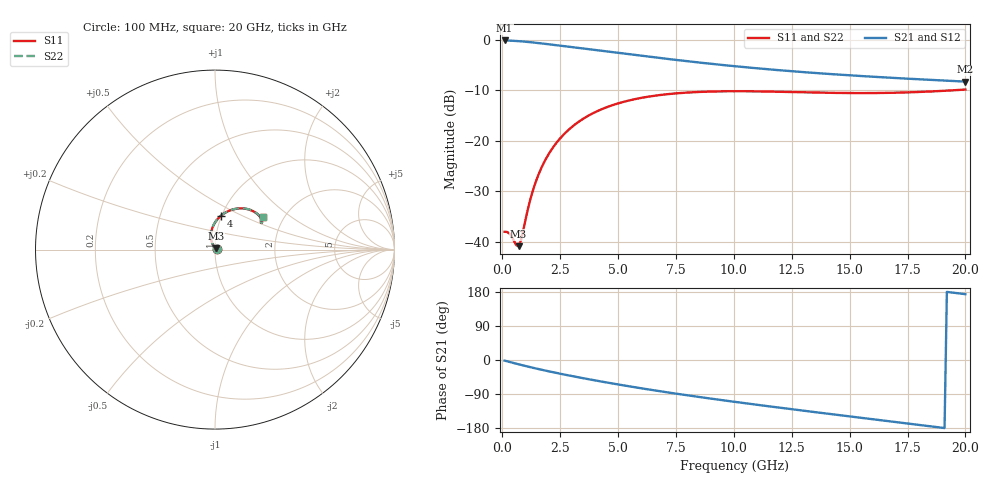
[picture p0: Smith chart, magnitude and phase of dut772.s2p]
! Touchstone file exported from HFSS 2024.1.0
!  File:  C:/UserFiles/LocalFiles/RDL_TSV_Batchsim/temp_RDL_TSV_772_1779903365.aedt
!  Generated:  01:47:50 AM May 28, 2026
!  Design:  RDL_TSV
!  Project:  temp_RDL_TSV_772_1779903365
!  Setup:  Setup1
!  Solution:  Sweep
! Variables:
!  dtsv = 13.18um
!  hbump = 3um
!  htsv = 57.33um
!  ldown = 128.87um
!  lrdl = 588.1um
!  p = 40
!  p1 = 46.15um
!  rhole = 10um
!  subl = 2739.01um
!  t = 450um
!  tdown = 3.94um
!  trdl = 4.5um
!  viad = 10um
!  wdown = 23.1um
!  wrdl = 17.36um
!  xbump = 18um
# GHz S MA R 50.000000
! Terminal data exported
! Port[1] = TM1_1_T1
! Port[2] = TM1_4_T1
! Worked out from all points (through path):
!   200 points, 100 MHz to 20 GHz, reference 50 ohm
!   highest |S21| = -0.11 dB at 100 MHz (marker M1); lowest = -8.3 dB at 20 GHz (marker M2)
!   group delay of S21, straight-line fit = 24.4 ps
!   lowest |S11| = -40.8 dB at 700 MHz (marker M3), VSWR 1.02, Z = 50.5 + j0.792 ohm
!   |S11| at or under -10 dB: start of sweep to 19.4 GHz
!   |S22| runs from -40.8 to -9.8 dB; largest |S21 - S12| = 9.2e-15
!   S11 on the Smith chart (normalised r, x): 100 MHz: 1.03, +0.00; 4 GHz: 0.99, +0.39; 20 GHz: 1.57, +0.64
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0.1  0.01261 5.4  0.9869 -1.7  0.9869 -1.7  0.01261 5.4
! Gamma 0 0 0 0
! Port Impedance 50 0 50 0
0.3  0.01219 14.3  0.9835 -4.9  0.9835 -4.9  0.01219 14.3
0.6  0.009307 41.1  0.9752 -9.7  0.9752 -9.7  0.009301 41.2
0.7  0.009082 59.8  0.9716 -11.3  0.9716 -11.3  0.009077 59.9
0.8  0.01023 79.5  0.9678 -12.8  0.9678 -12.8  0.01023 79.6
1.1  0.02087 109.1  0.9543 -17.3  0.9543 -17.3  0.02089 109.2
1.3  0.0311 113.3  0.9442 -20.2  0.9442 -20.2  0.03113 113.3
1.5  0.04256 113.4  0.9335 -23.0  0.9335 -23.0  0.04259 113.4
1.8  0.06106 110.7  0.9167 -27.2  0.9167 -27.2  0.06111 110.7
2.1  0.08031 106.6  0.8995 -31.1  0.8995 -31.1  0.08038 106.6
2.5  0.1061 100.6  0.8766 -36.2  0.8766 -36.2  0.1062 100.7
3  0.1372 93.2  0.8485 -42.3  0.8485 -42.3  0.1373 93.3
3.5  0.166 86.3  0.8211 -48.1  0.8211 -48.1  0.1662 86.3
4  0.1921 79.9  0.7945 -53.8  0.7945 -53.8  0.1923 79.9
5.2  0.2423 66.7  0.734 -66.6  0.734 -66.6  0.2426 66.7
6.8  0.2844 53.1  0.6617 -82.3  0.6617 -82.3  0.2849 53.2
8.4  0.3046 43.3  0.6004 -96.7  0.6004 -96.7  0.3052 43.3
10.1  0.3103 36.1  0.5471 -110.9  0.5471 -110.9  0.311 36.1
11.7  0.3074 31.9  0.5067 -123.7  0.5067 -123.7  0.3082 31.9
13.4  0.3015 30.0  0.4723 -136.8  0.4723 -136.8  0.3023 29.9
16.7  0.299 31.3  0.4227 -161.6  0.4227 -161.6  0.2997 31.2
20  0.3223 34.4  0.3864 173.7  0.3864 173.7  0.3229 34.3
